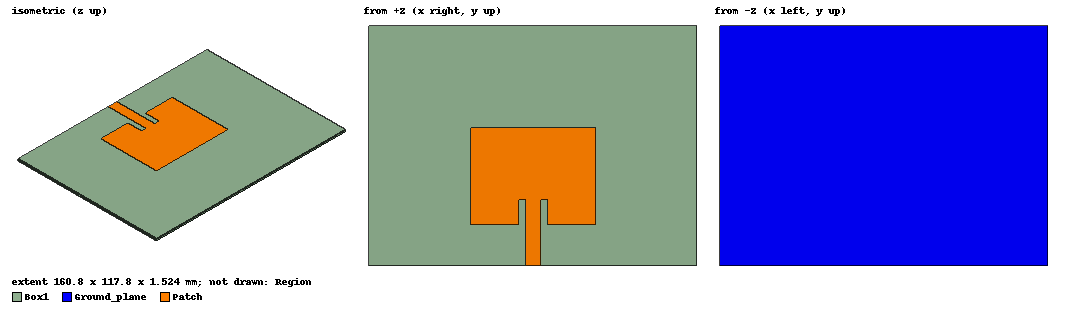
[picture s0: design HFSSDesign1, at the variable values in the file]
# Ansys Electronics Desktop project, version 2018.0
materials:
  vacuum: permittivity=1
  FR4_epoxy: permittivity=4.4 dielectric_loss_tangent=0.02
  air: permittivity=1.0006 permeability=1.0000004

design HFSSDesign1 (HFSS, DrivenModal, model units mm)
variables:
  lambda = 200mm
  W = 60.85mm
  LL = 32.25mm
  L = 47.43mm
  h = 1.524mm
  wl = 7.3125mm
  s = wl/2
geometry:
  Box1 [FR4_epoxy] = box(corner=(0mm, 0mm, 0mm), size=(W+lambda/2, LL-L/4+L+lambda/4, h))
  Patch = rectangle(corner=(lambda/4, LL-L/4, h), x_size=W, y_size=L)
  Ground_plane = rectangle(corner=(0mm, 0mm, 0mm), x_size=W+lambda/2, y_size=LL-L/4+L+lambda/4)
  Linea = rectangle(corner=(lambda/4+W/2-wl/2, 0, h), x_size=wl, y_size=ll)
  Muesca = rectangle(corner=(lambda/4+W/2-wl/2-s, LL-L/4, h), x_size=2*s+wl, y_size=L/4)
  Patch.subtract(Muesca)
  Patch.unite(Linea)
  Region [air] = region(absolute_offset=lambda/4 on all sides)
  Port = rectangle(corner=(lambda/4+W/2-wl/2, 0mm, 0mm), z_size=h, x_size=wl)
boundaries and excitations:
  Parche: Perfect E Objects=Patch
  Tierra: Perfect E Objects=Ground_plane
  Rad1: Radiation Objects=Region
  1: Lumped Port Objects=Port Modes{Mode1{IntLine{middle of Port.edge(z at corner) -> middle of Port.edge(z opposite corner)} CharImp=Zpi RenormImp=50ohm}} Impedance=50ohm
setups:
  Setup1: HfssDriven Frequency=1.5GHz MaxDeltaS=0.02 MaximumPasses=6 MinimumPasses=1 MinimumConvergedPasses=1 PercentRefinement=30 BasisOrder=1 PortAccuracy=2
    sweep Sweep: 1GHz to 2GHz step 0.02GHz; Type=Interpolating InterpTolerance=0.5 InterpMaxSolns=250 InterpUsePortImped=false PassivityErrorTolerance=0.0001
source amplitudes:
  1:1: 1W 0deg
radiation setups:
  Infinite Sphere1: Infinite Sphere Theta=-180deg..180deg step 2deg Phi=-180deg..180deg step 2deg
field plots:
  Mag_Jsurf1: Jsurf over Patch.face(at (80.425, 44.1075, 1.524)) on Setup1 : LastAdaptive at Freq=1.5GHz Phase=0deg
  Mag_H1: H Field over Box1.face(+z) on Setup1 : LastAdaptive at Freq=1.5GHz Phase=0deg
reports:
  S Parameter Plot 1: dB(S(1,1)) vs Freq on Setup1 : Sweep; markers MX1 at x=1.5005394e+09
  Z Parameter Plot 2: re(Z(1,1)), im(Z(1,1)) vs Freq on Setup1 : Sweep; markers MX1 at x=1.5011111e+09
  VSWR Plot 2: VSWR(1) vs Freq on Setup1 : Sweep; markers MX1 at x=1.4994664e+09
  Gain Plot 1: dB(GainTotal) vs Theta on Setup1 : LastAdaptive, Infinite Sphere1 [Phi=all Freq=1.5GHz]; markers m1 at 0deg, m2 at -180deg, m3 at -124deg, m4 at 124deg
  Gain Plot 2: dB(GainTotal) vs Phi, Theta on Setup1 : LastAdaptive, Infinite Sphere1 [Freq=1.5GHz]
